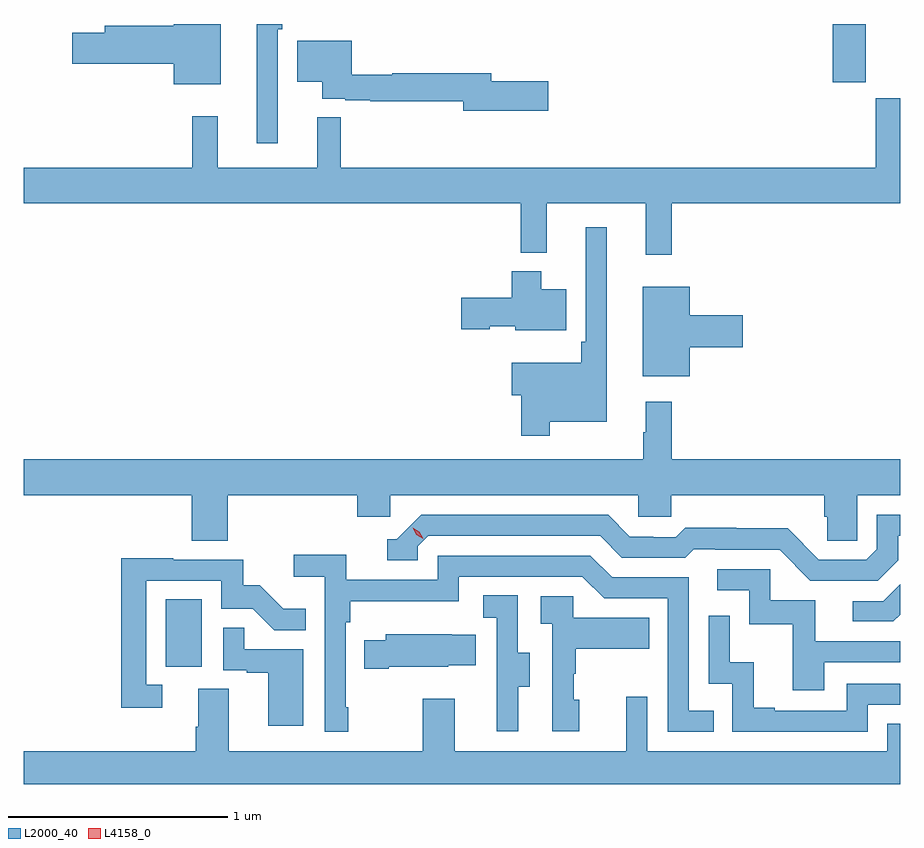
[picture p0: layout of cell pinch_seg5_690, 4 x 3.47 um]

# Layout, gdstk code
import gdstk
lib = gdstk.Library(unit=1e-6, precision=1e-09)
def R(c, l, rs):  # rectangles x0, y0, x1, y1
    for r in rs: c.add(gdstk.rectangle(r[:2], r[2:], *l))
def P(c, l, *ps):  # polygons
    for p in ps: c.add(gdstk.Polygon(p, *l))
L2000_40 = (2000, 40)
L4158_0 = (4158, 0)

pinch_seg5_690 = lib.new_cell('pinch_seg5_690')
R(pinch_seg5_690, L2000_40, [(1127.912,833.334,1128.076,833.641), (1130.954,836.001,1131.106,836.267)])
P(pinch_seg5_690, L2000_40, [(1128.163,836.267),(1127.948,836.267),(1127.948,836.258),(1127.633,836.258),(1127.633,836.228),(1127.484,836.228),(1127.484,836.086),(1127.948,836.086),(1127.948,835.991),(1128.163,835.991)],
  [(1128.423,836.243),(1128.443,836.243),(1128.443,836.267),(1128.326,836.267),(1128.326,835.722),(1128.423,835.722)],
  [(1129.657,836.006),(1129.396,836.006),(1129.396,836.042),(1128.944,836.042),(1128.944,836.035),(1128.761,836.035),(1128.761,836.191),(1128.512,836.191),(1128.512,836.003),(1128.626,836.003),(1128.626,835.926),(1128.73,835.926),(1128.73,835.92),(1128.844,835.92),(1128.844,835.914),(1129.268,835.914),(1129.268,835.871),(1129.657,835.871)],
  [(1130.219,835.448),(1131.263,835.448),(1131.263,835.929),(1131.152,835.929),(1131.152,835.612),(1128.71,835.612),(1128.71,835.841),(1128.602,835.841),(1128.602,835.612),(1128.149,835.612),(1128.149,835.846),(1128.031,835.846),(1128.031,835.612),(1127.263,835.612),(1127.263,835.448),(1129.531,835.448),(1129.531,835.223),(1129.649,835.223),(1129.649,835.448),(1130.102,835.448),(1130.102,835.215),(1130.219,835.215)],
  [(1129.663,834.452),(1129.924,834.452),(1129.924,835.339),(1129.827,835.339),(1129.827,834.817),(1129.807,834.817),(1129.807,834.721),(1129.49,834.721),(1129.49,834.574),(1129.534,834.574),(1129.534,834.387),(1129.663,834.387)],
  [(1129.738,835.057),(1129.624,835.057),(1129.624,835.138),(1129.49,835.138),(1129.49,835.017),(1129.26,835.017),(1129.26,834.875),(1129.389,834.875),(1129.389,834.887),(1129.506,834.887),(1129.506,834.869),(1129.738,834.869)],
  [(1130.302,834.791),(1130.545,834.791),(1130.545,834.938),(1130.302,834.938),(1130.302,835.069),(1130.087,835.069),(1130.087,834.659),(1130.302,834.659)],
  [(1128.194,834.116),(1128.785,834.116),(1128.785,834.018),(1128.936,834.018),(1128.936,834.116),(1130.067,834.116),(1130.067,834.018),(1130.217,834.018),(1130.217,834.116),(1130.915,834.116),(1130.915,834.018),(1130.929,834.018),(1130.929,833.908),(1131.066,833.908),(1131.066,834.116),(1131.263,834.116),(1131.263,834.28),(1130.219,834.28),(1130.219,834.544),(1130.102,834.544),(1130.102,834.404),(1130.091,834.404),(1130.091,834.28),(1127.263,834.28),(1127.263,834.116),(1128.029,834.116),(1128.029,833.908),(1128.194,833.908)],
  [(1131.253,833.821),(1131.253,833.931),(1131.263,833.931),(1131.263,834.027),(1131.156,834.027),(1131.156,833.871),(1131.108,833.823),(1130.892,833.823),(1130.75,833.965),(1130.514,833.965),(1130.514,833.968),(1130.281,833.968),(1130.239,833.925),(1130.136,833.925),(1130.136,833.928),(1130.029,833.928),(1129.93,834.027),(1129.077,834.027),(1128.966,833.916),(1128.923,833.916),(1128.923,833.82),(1129.062,833.82),(1129.062,833.883),(1129.11,833.931),(1129.893,833.931),(1129.992,833.832),(1130.281,833.832),(1130.32,833.871),(1130.419,833.871),(1130.419,833.868),(1130.712,833.868),(1130.853,833.727),(1131.159,833.727)],
  [(1128.745,833.149),(1128.732,833.149),(1128.732,833.537),(1128.752,833.537),(1128.752,833.633),(1129.248,833.633),(1129.248,833.745),(1129.812,833.745),(1129.911,833.646),(1130.202,833.646),(1130.202,833.037),(1130.411,833.037),(1130.411,833.133),(1130.298,833.133),(1130.298,833.742),(1129.948,833.742),(1129.849,833.841),(1129.152,833.841),(1129.152,833.73),(1128.734,833.73),(1128.734,833.846),(1128.495,833.846),(1128.495,833.744),(1128.636,833.744),(1128.636,833.037),(1128.745,833.037)],
  [(1127.896,833.253),(1127.823,833.253),(1127.823,833.727),(1128.165,833.727),(1128.165,833.598),(1128.309,833.598),(1128.407,833.5),(1128.551,833.5),(1128.551,833.599),(1128.447,833.599),(1128.34,833.706),(1128.264,833.706),(1128.264,833.823),(1127.945,833.823),(1127.945,833.828),(1127.707,833.828),(1127.707,833.148),(1127.896,833.148)],
  [(1130.917,833.355),(1131.263,833.355),(1131.263,833.451),(1130.875,833.451),(1130.875,833.637),(1130.67,833.637),(1130.67,833.778),(1130.427,833.778),(1130.427,833.682),(1130.574,833.682),(1130.574,833.529),(1130.773,833.529),(1130.773,833.226),(1130.917,833.226)],
  [(1131.263,833.572),(1131.263,833.711),(1131.186,833.634),(1131.045,833.634),(1131.045,833.541),(1131.232,833.541)],
  [(1129.519,833.242),(1129.573,833.242),(1129.573,833.397),(1129.518,833.397),(1129.518,833.66),(1129.359,833.66),(1129.359,833.557),(1129.422,833.557),(1129.422,833.253),(1129.421,833.253),(1129.421,833.04),(1129.519,833.04)],
  [(1129.798,833.184),(1129.773,833.184),(1129.773,833.303),(1129.783,833.303),(1129.783,833.417),(1130.117,833.417),(1130.117,833.557),(1129.77,833.557),(1129.77,833.655),(1129.623,833.655),(1129.623,833.531),(1129.674,833.531),(1129.674,833.04),(1129.798,833.04)],
  [(1131.114,833.16),(1131.263,833.16),(1131.263,833.256),(1131.018,833.256),(1131.018,833.133),(1130.689,833.133),(1130.689,833.146),(1130.594,833.146),(1130.594,833.354),(1130.484,833.354),(1130.484,833.566),(1130.388,833.566),(1130.388,833.256),(1130.496,833.256),(1130.496,833.037),(1131.114,833.037)],
  [(1128.538,833.415),(1128.269,833.415),(1128.269,833.513),(1128.174,833.513),(1128.174,833.319),(1128.281,833.319),(1128.281,833.307),(1128.38,833.307),(1128.38,833.064),(1128.538,833.064)],
  [(1128.928,833.333),(1129.2,833.333),(1129.2,833.342),(1129.325,833.342),(1129.325,833.479),(1129.217,833.479),(1129.217,833.482),(1128.915,833.482),(1128.915,833.455),(1128.817,833.455),(1128.817,833.326),(1128.928,833.326)],
  [(1131.263,833.075),(1131.204,833.075),(1131.204,832.948),(1130.109,832.948),(1130.109,833.197),(1130.012,833.197),(1130.012,832.948),(1129.231,832.948),(1129.231,833.188),(1129.084,833.188),(1129.084,832.948),(1128.199,832.948),(1128.199,833.234),(1128.059,833.234),(1128.059,833.06),(1128.047,833.06),(1128.047,832.948),(1127.263,832.948),(1127.263,832.799),(1131.263,832.799)])
P(pinch_seg5_690, L4158_0, [(1129.086,833.917),(1129.055,833.936),(1129.038,833.968),(1129.038,833.969),(1129.039,833.969),(1129.069,833.949),(1129.086,833.917),(1129.086,833.917)])

lib.write_gds('pinch_seg5_690.gds')
